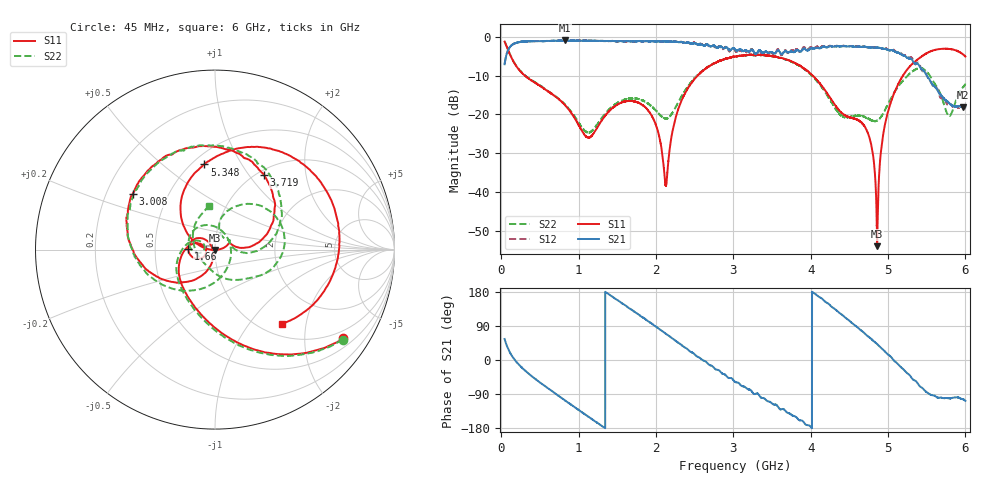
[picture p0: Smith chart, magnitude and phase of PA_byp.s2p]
!Agilent Technologies,E8364A,US41440144,A.06.04.32
!Agilent E8364A: A.06.04.32
!Date: Thursday, November 08, 2018 14:15:06
!Correction: S11(Full 2 Port(1,2)) S21(Full 2 Port(1,2)) S12(Full 2 Port(1,2)) S22(Full 2 Port(1,2))
!S2P File: Measurements: S11, S21, S12, S22:
# Hz S  dB  R 50
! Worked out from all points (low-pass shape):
!   16001 points, 45 MHz to 6 GHz, reference 50 ohm
!   highest |S21| = -0.93 dB at 827 MHz (marker M1); lowest = -18.1 dB at 5.968 GHz (marker M2)
!   |S21| within 3 dB of the highest: 78.92 MHz to 3.269 GHz (3.19 GHz wide, 191 % of centre); 3.789 GHz to 5.098 GHz (1.309 GHz wide, 29.5 % of centre)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
!   lowest |S11| = -54.0 dB at 4.86 GHz (marker M3), VSWR 1.00, Z = 50 - j0.198 ohm
!   |S11| at or under -10 dB: 307.1 MHz to 2.54 GHz (2.233 GHz wide, 157 % of centre); 4.027 GHz to 5.193 GHz (1.166 GHz wide, 25.3 % of centre); 5.192767 GHz to 5.193165 GHz (398.7 kHz wide, 0.00768 % of centre)
!   |S22| runs from -24.7 to -1.2 dB; largest |S21 - S12| = 0.059
!   S11 on the Smith chart (normalised r, x): 45 MHz: 0.75, -3.03; 1.66 GHz: 0.74, +0.01; 3.008 GHz: 0.31, +0.28; 3.719 GHz: 1.07, +1.18; 5.348 GHz: 0.57, +0.70; 6 GHz: 1.22, -1.47
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4.5e7  -1.22 -34.8  -7.07 55.4  -7.05 55.4  -1.21 -35.2
2.619853e8  -9.15 -106.9  -1.25 -18.8  -1.25 -19.1  -9.11 -109.7
8.269659e8  -17.61 166.8  -0.93 -106.8  -0.97 -106.9  -17.50 158.9
1.037624e9  -24.01 163.2  -0.98 -137.0  -0.99 -136.9  -23.20 154.6
1.336118e9  -20.57 -148.0  -1.10 -178.8  -1.07 -179.0  -20.01 -169.0
1.660294e9  -16.55 177.9  -1.17 135.9  -1.14 136.1  -15.90 149.8
2.030248e9  -24.66 130.7  -1.12 83.8  -1.11 83.9  -19.68 59.9
2.130739e9  -38.42 -161.1  -1.19 69.1  -1.11 69.3  -21.10 8.9
2.395736e9  -13.88 -124.0  -1.55 30.6  -1.35 30.0  -13.32 -103.6
3.008357e9  -5.14 146.0  -2.91 -54.9  -3.03 -57.1  -5.17 142.1
3.0225e9  -5.13 144.3  -3.18 -57.8  -3.49 -59.4  -5.15 140.3
3.719235e9  -6.06 56.9  -3.97 -140.4  -4.07 -137.1  -6.08 47.0
4.015124e9  -9.80 20.4  -2.94 -179.4  -2.78 179.4  -9.96 9.6
4.423414e9  -19.99 14.9  -2.38 116.4  -2.30 115.9  -20.59 14.4
4.711859e9  -23.60 17.2  -2.58 67.5  -2.60 67.5  -20.82 36.4
4.859618e9  -54.02 -83.7  -2.81 42.0  -2.78 41.8  -21.59 59.1
5.007748e9  -18.78 160.2  -3.43 13.4  -3.34 13.2  -17.06 80.3
5.347555e9  -6.41 97.2  -6.86 -54.2  -6.99 -56.7  -8.47 33.6
5.561191e9  -3.64 56.2  -11.90 -92.5  -11.95 -94.2  -10.70 -29.3
5.786364e9  -3.11 8.7  -16.98 -101.2  -17.42 -98.1  -20.39 -135.0
5.968364e9  -4.51 -38.2  -18.13 -103.5  -17.82 -103.5  -13.03 105.2
6e9  -5.07 -47.9  -18.05 -107.7  -18.47 -106.6  -12.23 98.3
